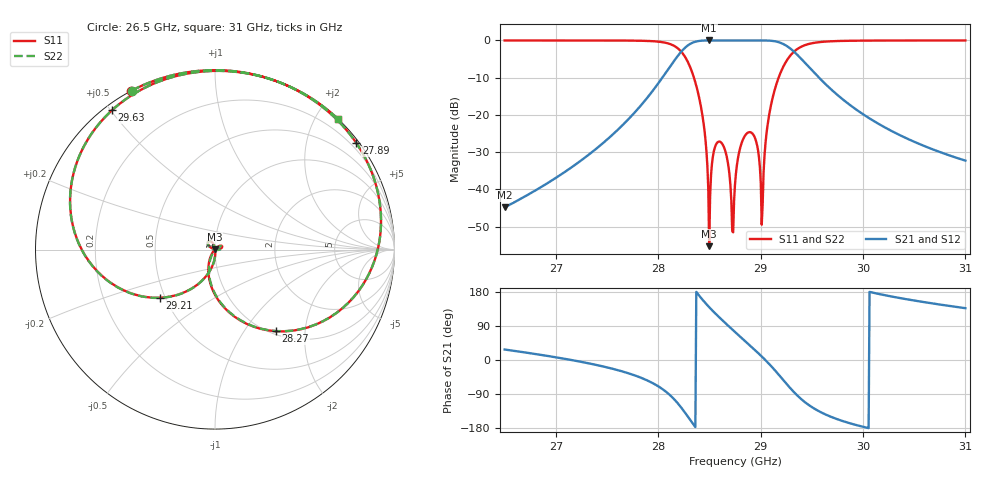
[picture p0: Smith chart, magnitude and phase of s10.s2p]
! Touchstone file from project Ka_PF
! Exported from HFSS 15.0.0
! Variables:
!  AA = 0.34in
!  BB = 0.145in
!  M01 = 0.1661in
!  M11 = 0.2126in
!  M12 = 0.1115in
!  M22 = 0.2362in
!  PL = 0.3in
!  RR = 0.035in
!  TT = 0.04in
!Data is not renormalized
# GHZ S DB
! Modal data exported
! Port[1] = 1:1
! Port[2] = 2:1
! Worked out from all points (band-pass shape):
!   501 points, 26.5 GHz to 31 GHz, reference per port
!   highest |S21| = 0.00 dB at 28.5 GHz (marker M1); lowest = -44.8 dB at 26.5 GHz (marker M2)
!   |S21| within 3 dB of the highest: 28.23 GHz to 29.33 GHz (1.1 GHz wide, 3.82 % of centre)
!   lowest |S11| = -55.2 dB at 28.5 GHz (marker M3), VSWR 1.00
!   |S11| at or under -10 dB: 28.35 GHz to 29.18 GHz (826.7 MHz wide, 2.87 % of centre)
!   |S22| runs from -55.2 to 0.0 dB; largest |S21 - S12| = 1.7e-14
!   S11 on the Smith chart (normalised r, x): 26.5 GHz: 0.00, +0.60; 27.89 GHz: 0.07, +2.99; 28.27 GHz: 1.05, -1.42; 29.21 GHz: 0.47, -0.30; 29.63 GHz: 0.02, +0.50; 31 GHz: 0.00, +2.31
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26.5  -0.00 117.8  -44.81 27.7  -44.81 27.7  -0.00 117.7
! Gamma ! -0 419.682062984135 -0 419.682053983037
! Port Impedance 262.307395729971 0 262.307520679318 0
27.256  -0.00 84.8  -32.03 -5.3  -32.03 -5.3  -0.00 84.7
27.886  -0.12 37.0  -15.63 -53.0  -15.63 -53.0  -0.12 36.9
28.003  -0.32 20.2  -11.42 -69.8  -11.42 -69.8  -0.32 20.2
28.147  -1.33 -11.1  -5.80 -101.1  -5.80 -101.1  -1.33 -11.1
28.273  -4.91 -53.2  -1.69 -143.1  -1.69 -143.1  -4.91 -53.0
28.426  -19.12 -109.5  -0.05 161.3  -0.05 161.3  -19.12 -107.9
28.498  -55.22 156.3  -0.00 139.3  -0.00 139.3  -55.22 -57.6
28.597  -27.13 24.6  -0.01 112.4  -0.01 112.4  -27.13 20.3
28.669  -31.16 7.2  -0.00 94.1  -0.00 94.1  -31.16 0.9
28.723  -51.20 21.2  -0.00 80.6  -0.00 80.6  -51.20 -40.0
28.75  -38.64 157.5  -0.00 74.0  -0.00 74.0  -38.64 170.5
28.795  -29.45 150.9  -0.00 63.0  -0.00 63.0  -29.45 155.0
28.885  -24.63 130.2  -0.01 41.0  -0.01 41.0  -24.63 131.9
28.957  -27.15 112.5  -0.01 23.2  -0.01 23.2  -27.15 114.0
29.02  -43.99 -80.2  -0.00 7.0  -0.00 7.0  -43.99 -85.5
29.083  -20.03 -100.3  -0.04 -10.3  -0.04 -10.3  -20.03 -100.3
29.209  -7.77 -139.0  -0.79 -48.9  -0.79 -48.9  -7.77 -138.8
29.506  -0.72 144.8  -8.15 -125.2  -8.15 -125.2  -0.72 144.9
29.632  -0.31 126.5  -11.67 -143.5  -11.67 -143.5  -0.31 126.5
30.253  -0.02 78.9  -23.92 168.9  -23.92 168.9  -0.02 78.9
31  -0.00 46.8  -32.26 136.8  -32.26 136.8  -0.00 46.8
